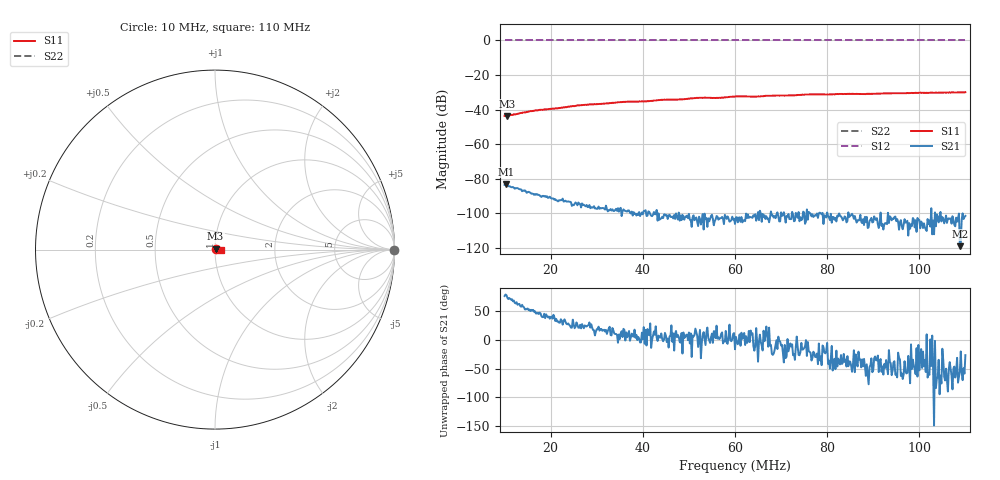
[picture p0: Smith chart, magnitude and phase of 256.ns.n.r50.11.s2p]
! Anritsu VNA Master:  Model: MS2036C/10/77
! SN:  1601066
! /card0/usr/256.ns.n.r50.11.s2p
! Existing Calibration Information:
! TYPE:  Current Settings,  Active Cal Settings
! TIME:  12/19/2017 04:02:54 PM,  12/19/2017 03:58:02 PM
! INTERNAL TEMP:  47.0 C,  47.0 C
! # POINTS:  501,  501
! START FREQ:  10.000 MHz,  10.000 MHz
! STOP FREQ:  110.000 MHz,  110.000 MHz
! SOURCE POWER:  High,  High
! IFBW:  100 Hz,  100 Hz
! AVG FACTOR:  1 ,  1
! REF PLANE 1:  0 mm,  0 mm
! REF PLANE 2:  0 mm,  0 mm
! CAL TYPE:  Full S11,  Full S11
! CAL METHOD:  SOLT,  SOLT
! CAL LINE TYPE:  Coax,  Coax
! DUT PORT 1:  N-Conn(F),  N-Conn(F)
! DUT PORT 2:  K-Conn(F),  K-Conn(F)
! CAL STATUS:  OK: Accuracy High,  --
# GHZ S DB R 50.0
! FREQ.GHZ  S11DB  S11A  S21DB  S21A  S12DB  S12A  S22DB  S22A
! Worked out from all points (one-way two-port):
!   501 points, 10 MHz to 110 MHz, reference 50 ohm
!   highest |S21| = -82.97 dB at 10.4 MHz (marker M1); lowest = -118.9 dB at 108.8 MHz (marker M2)
!   lowest |S11| = -43.6 dB at 10.6 MHz (marker M3), VSWR 1.01, Z = 50.3 + j0.57 ohm
!   |S11| at or under -10 dB: start of sweep to end of sweep
!   |S22| runs from 0.0 to 0.0 dB; largest |S21 - S12| = 1
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0.01  -43.58 59.7  -83.54 75.7  0.00 0.0  0.00 0.0
0.0104  -43.57 62.0  -82.97 77.0  0.00 0.0  0.00 0.0
0.0106  -43.65 59.5  -83.58 72.5  0.00 0.0  0.00 0.0
0.0158  -40.87 58.0  -88.59 51.7  0.00 0.0  0.00 0.0
0.0178  -40.05 58.1  -90.11 45.6  0.00 0.0  0.00 0.0
0.0218  -39.14 55.2  -92.35 29.5  0.00 0.0  0.00 0.0
0.0268  -37.39 52.3  -94.22 27.0  0.00 0.0  0.00 0.0
0.036  -35.53 48.3  -98.36 16.7  0.00 0.0  0.00 0.0
0.0404  -35.14 45.8  -98.51 -7.1  0.00 0.0  0.00 0.0
0.0434  -34.51 42.6  -99.96 7.1  0.00 0.0  0.00 0.0
0.0486  -34.08 39.0  -100.84 -24.0  0.00 0.0  0.00 0.0
0.052  -33.19 37.7  -107.33 -12.5  0.00 0.0  0.00 0.0
0.0566  -33.13 34.9  -102.86 1.0  0.00 0.0  0.00 0.0
0.06  -32.37 33.1  -106.08 -16.6  0.00 0.0  0.00 0.0
0.0644  -32.50 31.1  -100.47 -10.8  0.00 0.0  0.00 0.0
0.067  -32.02 27.7  -103.18 7.8  0.00 0.0  0.00 0.0
0.0724  -31.78 24.0  -99.10 -8.0  0.00 0.0  0.00 0.0
0.0768  -31.16 21.8  -100.52 -31.8  0.00 0.0  0.00 0.0
0.088  -30.90 14.4  -106.75 -33.3  0.00 0.0  0.00 0.0
0.0934  -30.56 9.7  -105.54 -18.0  0.00 0.0  0.00 0.0
0.1088  -30.03 -0.4  -118.94 -54.7  0.00 0.0  0.00 0.0
0.11  -29.93 -1.1  -101.45 -26.7  0.00 0.0  0.00 0.0
